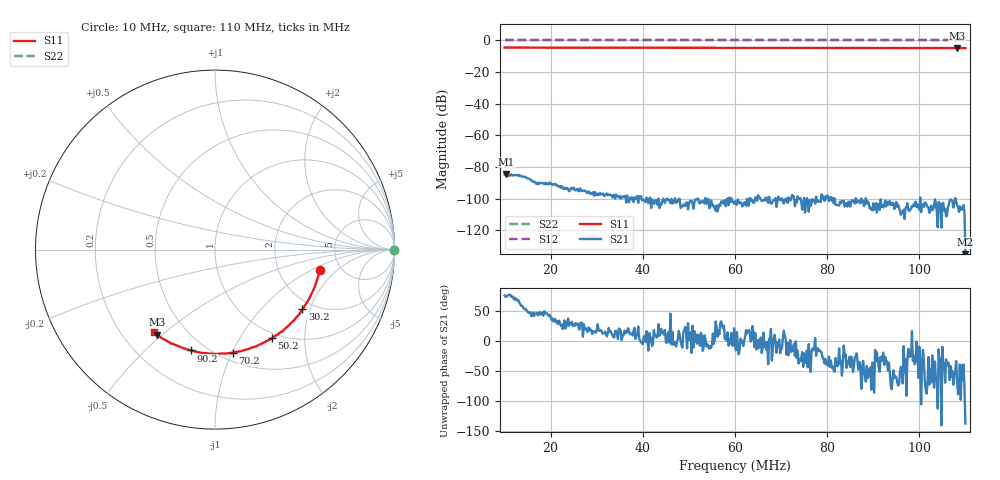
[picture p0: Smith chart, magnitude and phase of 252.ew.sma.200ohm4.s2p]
! Anritsu VNA Master:  Model: MS2036C/10/77
! SN:  1601066
! /card0/usr/200ohm4.s2p
! Existing Calibration Information:
! TYPE:  Current Settings,  Active Cal Settings
! TIME:  12/20/2017 04:20:50 PM,  12/20/2017 04:05:21 PM
! INTERNAL TEMP:  41.8 C,  43.3 C
! # POINTS:  501,  501
! START FREQ:  10.000 MHz,  10.000 MHz
! STOP FREQ:  110.000 MHz,  110.000 MHz
! SOURCE POWER:  High,  High
! IFBW:  100 Hz,  100 Hz
! AVG FACTOR:  1 ,  1
! REF PLANE 1:  0 mm,  0 mm
! REF PLANE 2:  0 mm,  0 mm
! CAL TYPE:  Full S11,  Full S11
! CAL METHOD:  SOLT,  SOLT
! CAL LINE TYPE:  Coax,  Coax
! DUT PORT 1:  K-Conn(F),  K-Conn(F)
! DUT PORT 2:  K-Conn(F),  K-Conn(F)
! CAL STATUS:  OK: Accuracy High,  --
# GHZ S DB R 50.0
! FREQ.GHZ  S11DB  S11A  S21DB  S21A  S12DB  S12A  S22DB  S22A
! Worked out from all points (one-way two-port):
!   501 points, 10 MHz to 110 MHz, reference 50 ohm
!   highest |S21| = -84.40 dB at 10.4 MHz (marker M1); lowest = -135.1 dB at 110 MHz (marker M2)
!   lowest |S11| = -4.8 dB at 108.2 MHz (marker M3), VSWR 3.69, Z = 17 - j24 ohm
!   |S11| at or under -10 dB: nowhere
!   |S22| runs from 0.0 to 0.0 dB; largest |S21 - S12| = 1
!   S11 on the Smith chart (normalised r, x): 10 MHz: 3.45, -1.24; 30.2 MHz: 1.75, -1.78; 50.2 MHz: 0.93, -1.39; 70.2 MHz: 0.58, -1.01; 90.2 MHz: 0.42, -0.70; 110 MHz: 0.33, -0.46
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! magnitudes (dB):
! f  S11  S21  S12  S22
! 10 MHz  -4.5  -84.7  0.0  0.0
! 10.4 MHz  -4.5  -84.4  0.0  0.0
! 26.8 MHz  -4.6  -95.1  0.0  0.0
! 30.2 MHz  -4.6  -97.8  0.0  0.0
! 33 MHz  -4.6  -97.5  0.0  0.0
! 35.4 MHz  -4.6  -98.7  0.0  0.0
! 37.2 MHz  -4.6  -99.9  0.0  0.0
! 38.8 MHz  -4.6  -98.3  0.0  0.0
! 43.4 MHz  -4.6  -99.9  0.0  0.0
! 44.4 MHz  -4.6  -100.0  0.0  0.0
! 46.2 MHz  -4.6  -100.1  0.0  0.0
! 50.2 MHz  -4.6  -101.5  0.0  0.0
! 60 MHz  -4.7  -101.6  0.0  0.0
! 70.2 MHz  -4.7  -99.8  0.0  0.0
! 76.8 MHz  -4.7  -100.3  0.0  0.0
! 85.2 MHz  -4.7  -102.4  0.0  0.0
! 90.2 MHz  -4.8  -106.9  0.0  0.0
! 93.4 MHz  -4.8  -102.0  0.0  0.0
! 97.2 MHz  -4.8  -105.0  0.0  0.0
! 100.4 MHz  -4.8  -108.5  0.0  0.0
! 108.2 MHz  -4.8  -104.1  0.0  0.0
! 110 MHz  -4.8  -135.1  0.0  0.0
